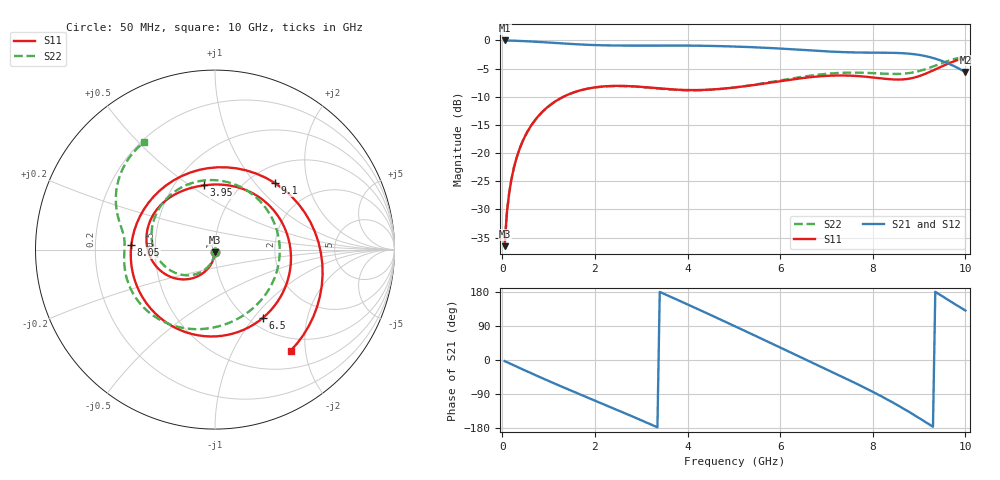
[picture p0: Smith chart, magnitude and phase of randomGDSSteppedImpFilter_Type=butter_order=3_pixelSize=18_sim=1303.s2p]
! freq	dB(S11)	phase(S11)	dB(S12)	phase(S12)
!  dB(S21)	phase(S21)	dB(S22)	phase(S22)
!S-par simulation data
#  GHz  S  DB  R 50
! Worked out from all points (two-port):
!   200 points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, 50 MHz to 10 GHz, reference 50 ohm
!   highest |S21| = 0.00 dB at 50 MHz (marker M1); lowest = -5.6 dB at 10 GHz (marker M2)
!   |S21| within 3 dB of the highest: start of sweep to 9.251 GHz
!   lowest |S11| = -36.5 dB at 50 MHz (marker M3), VSWR 1.03, Z = 49.9 - j1.49 ohm
!   |S11| at or under -10 dB: start of sweep to 1.318 GHz
!   |S22| runs from -36.5 to -2.9 dB; largest |S21 - S12| = 0
!   S11 on the Smith chart (normalised r, x): 50 MHz: 1.00, -0.03; 3.95 GHz: 0.69, +0.57; 6.5 GHz: 1.15, -1.12; 8.05 GHz: 0.36, +0.02; 9.1 GHz: 1.29, +1.27; 10 GHz: 0.78, -1.73
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0.05  -36.51 -92.5  -0.00 -2.9  -0.00 -2.9  -36.51 -92.9
0.1  -30.50 -95.2  -0.01 -5.7  -0.01 -5.7  -30.51 -96.2
0.2  -24.52 -100.6  -0.04 -11.3  -0.04 -11.3  -24.53 -102.5
0.5  -16.85 -116.3  -0.13 -28.1  -0.13 -28.1  -16.86 -121.0
1.1  -11.06 -145.7  -0.43 -60.6  -0.43 -60.6  -11.08 -156.6
1.75  -8.72 -175.2  -0.74 -94.4  -0.74 -94.4  -8.74 165.1
2.65  -8.08 148.0  -0.92 -140.6  -0.92 -140.6  -8.12 109.8
3.4  -8.52 120.2  -0.90 179.6  -0.90 179.6  -8.57 58.3
3.95  -8.80 99.9  -0.91 149.5  -0.91 149.5  -8.85 18.6
4.55  -8.70 74.0  -0.98 115.9  -0.98 115.9  -8.73 -22.2
5.05  -8.32 47.0  -1.09 87.6  -1.09 87.6  -8.31 -51.5
5.45  -7.90 21.6  -1.22 64.7  -1.22 64.7  -7.84 -71.6
5.85  -7.41 -6.3  -1.37 41.6  -1.37 41.6  -7.30 -89.4
6.5  -6.66 -54.8  -1.69 4.1  -1.69 4.1  -6.42 -115.6
6.7  -6.48 -70.1  -1.80 -7.4  -1.80 -7.4  -6.20 -123.4
7.35  -6.22 -121.0  -2.07 -44.9  -2.07 -44.9  -5.74 -147.7
8.05  -6.61 176.8  -2.17 -87.1  -2.17 -87.1  -5.82 -170.9
8.35  -6.87 144.8  -2.19 -106.6  -2.19 -106.6  -5.93 -179.0
8.75  -6.83 95.0  -2.32 -134.5  -2.32 -134.5  -5.83 172.3
9.1  -6.04 48.1  -2.71 -160.7  -2.71 -160.7  -5.20 164.6
9.55  -4.39 -7.6  -3.82 164.5  -3.82 164.5  -3.86 149.0
10  -3.06 -53.1  -5.60 130.6  -5.60 130.6  -2.90 123.6
